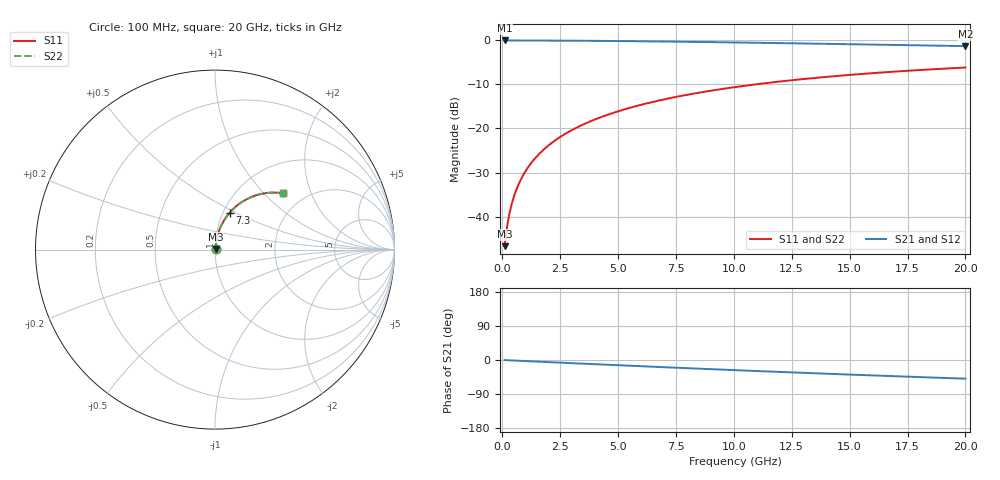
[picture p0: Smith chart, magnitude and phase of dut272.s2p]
! Touchstone file exported from HFSS 2026.1.0
!  File:  C:/ffzhzh/LocalFiles/Ansys_Project_Files/temp_train_TMRDL_272_1782985202_45328.aedt
!  Generated:  05:41:20 PM Jul  2, 2026
!  Design:  TMRDL
!  Project:  temp_train_TMRDL_272_1782985202_45328
! Variables:
!  h_bsmrdl = 2um
!  h_ox = 20um
!  h_rdl = 5um
!  h_sub = 80um
!  h_tmrdl = 3.96um
!  h_tsv = 80um
!  h_via = 3um
!  l_bsmrdl = 300um
!  l_sub = 1093.26um
!  l_tmrdl = 693.26um
!  m_sub = 200um
!  pitch = 59.43um
!  r_tsv = 6um
!  s_tmrdl = 10um
!  w_bsmrdl = 18um
!  w_sub = 500um
!  w_tmrdl = 21.07um
!  x_tsv_center1 = 703.795um
!  x_tsv_center2 = 1021.795um
!  x_tsv_center3 = 1736.125um
!  x_tsv_center4 = 2054.125um
!  x_tsv_center5 = 2768.455um
!  x_tsv_center6 = 3086.455um
# GHz S MA R 50.000000
! Terminal data exported
! Port[1] = TM_RDL1_1_T1
! Port[2] = TM_RDL1_1_T2
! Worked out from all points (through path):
!   200 points, 100 MHz to 20 GHz, reference 50 ohm
!   highest |S21| = -0.03 dB at 100 MHz (marker M1); lowest = -1.3 dB at 20 GHz (marker M2)
!   group delay of S21, straight-line fit = 6.85 ps
!   lowest |S11| = -46.7 dB at 100 MHz (marker M3), VSWR 1.01, Z = 50.3 + j0.344 ohm
!   |S11| at or under -10 dB: start of sweep to 10.93 GHz
!   |S22| runs from -46.7 to -6.2 dB; largest |S21 - S12| = 2.2e-15
!   S11 on the Smith chart (normalised r, x): 100 MHz: 1.01, +0.01; 7.3 GHz: 1.07, +0.47; 20 GHz: 1.57, +1.29
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0.1  0.004626 47.6  0.9969 -0.3  0.9969 -0.3  0.004626 47.6
! Gamma 0 0 0 0
! Port Impedance 50 0 50 0
0.2  0.007511 63.8  0.9967 -0.6  0.9967 -0.6  0.007511 63.8
0.3  0.01059 70.5  0.9966 -0.9  0.9966 -0.9  0.01059 70.5
0.4  0.01371 74.1  0.9964 -1.1  0.9964 -1.1  0.01371 74.1
0.5  0.01684 76.3  0.9963 -1.4  0.9963 -1.4  0.01684 76.3
0.7  0.02314 78.8  0.996 -2.0  0.996 -2.0  0.02314 78.8
1  0.03265 80.5  0.9957 -2.8  0.9957 -2.8  0.03265 80.5
1.2  0.03901 80.9  0.9953 -3.4  0.9953 -3.4  0.03901 80.9
1.4  0.04537 81.0  0.995 -3.9  0.995 -3.9  0.04537 81.0
1.7  0.0549 80.9  0.9944 -4.8  0.9944 -4.8  0.0549 80.9
2  0.06441 80.6  0.9937 -5.6  0.9937 -5.6  0.06441 80.6
2.7  0.08644 79.4  0.9916 -7.5  0.9916 -7.5  0.08644 79.4
3.5  0.1113 77.6  0.9886 -9.7  0.9886 -9.7  0.1113 77.6
4.2  0.1326 76.0  0.9856 -11.6  0.9856 -11.6  0.1326 75.9
5  0.1566 74.0  0.9815 -13.8  0.9815 -13.8  0.1566 74.0
6.8  0.2086 69.5  0.9707 -18.5  0.9707 -18.5  0.2086 69.4
7.3  0.2225 68.2  0.9673 -19.8  0.9673 -19.8  0.2225 68.2
8.6  0.2576 65.0  0.9579 -23.2  0.9579 -23.2  0.2576 65.0
10.1  0.296 61.4  0.9462 -26.9  0.9462 -26.9  0.296 61.3
13.4  0.3725 53.7  0.9181 -34.8  0.9181 -34.8  0.3725 53.6
16.7  0.4376 46.4  0.8887 -42.3  0.8887 -42.3  0.4376 46.3
20  0.4916 39.6  0.8601 -49.2  0.8601 -49.2  0.4916 39.5
